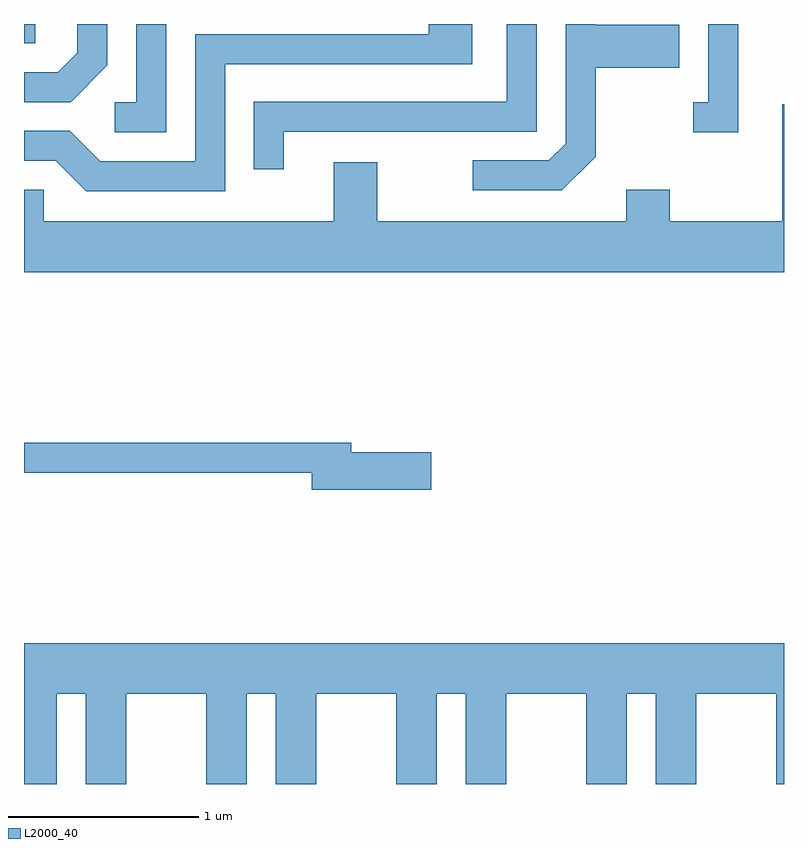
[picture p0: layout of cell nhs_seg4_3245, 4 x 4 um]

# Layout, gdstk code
import gdstk
lib = gdstk.Library(unit=1e-6, precision=1e-09)
def R(c, l, rs):  # rectangles x0, y0, x1, y1
    for r in rs: c.add(gdstk.rectangle(r[:2], r[2:], *l))
def P(c, l, *ps):  # polygons
    for p in ps: c.add(gdstk.Polygon(p, *l))
L2000_40 = (2000, 40)

nhs_seg4_3245 = lib.new_cell('nhs_seg4_3245')
R(nhs_seg4_3245, L2000_40, [(279.611,1355.881,279.669,1355.982)])
P(nhs_seg4_3245, L2000_40, [(283.369,1355.982),(283.211,1355.982),(283.211,1355.569),(283.133,1355.569),(283.133,1355.411),(283.369,1355.411)],
  [(280.669,1355.771),(281.969,1355.771),(281.969,1355.982),(281.741,1355.982),(281.741,1355.929),(280.511,1355.929),(280.511,1355.259),(280.012,1355.259),(279.852,1355.419),(279.611,1355.419),(279.611,1355.261),(279.779,1355.261),(279.939,1355.101),(280.669,1355.101)],
  [(280.979,1355.416),(282.309,1355.416),(282.309,1355.982),(282.151,1355.982),(282.151,1355.574),(280.821,1355.574),(280.821,1355.218),(280.979,1355.218)],
  [(280.359,1355.982),(280.201,1355.982),(280.201,1355.569),(280.088,1355.569),(280.088,1355.411),(280.359,1355.411)],
  [(280.049,1355.764),(280.049,1355.982),(279.891,1355.982),(279.891,1355.832),(279.789,1355.729),(279.611,1355.729),(279.611,1355.571),(279.857,1355.571)],
  [(282.619,1355.284),(282.619,1355.751),(283.059,1355.751),(283.059,1355.979),(282.619,1355.979),(282.619,1355.982),(282.461,1355.982),(282.461,1355.352),(282.374,1355.264),(281.973,1355.264),(281.973,1355.106),(282.442,1355.106)],
  [(283.611,1355.559),(283.601,1355.559),(283.601,1354.944),(283.009,1354.944),(283.009,1355.109),(282.781,1355.109),(282.781,1354.944),(281.469,1354.944),(281.469,1355.254),(281.241,1355.254),(281.241,1354.944),(279.714,1354.944),(279.714,1355.109),(279.611,1355.109),(279.611,1354.676),(283.611,1354.676)],
  [(281.754,1353.729),(281.334,1353.729),(281.334,1353.779),(279.611,1353.779),(279.611,1353.621),(281.126,1353.621),(281.126,1353.531),(281.754,1353.531)],
  [(279.784,1352.456),(279.936,1352.456),(279.936,1351.982),(280.149,1351.982),(280.149,1352.456),(280.571,1352.456),(280.571,1351.982),(280.784,1351.982),(280.784,1352.456),(280.936,1352.456),(280.936,1351.982),(281.149,1351.982),(281.149,1352.456),(281.571,1352.456),(281.571,1351.982),(281.784,1351.982),(281.784,1352.456),(281.936,1352.456),(281.936,1351.982),(282.149,1351.982),(282.149,1352.456),(282.571,1352.456),(282.571,1351.982),(282.784,1351.982),(282.784,1352.456),(282.936,1352.456),(282.936,1351.982),(283.149,1351.982),(283.149,1352.456),(283.571,1352.456),(283.571,1351.982),(283.611,1351.982),(283.611,1352.724),(279.611,1352.724),(279.611,1351.982),(279.784,1351.982)])

lib.write_gds('nhs_seg4_3245.gds')
